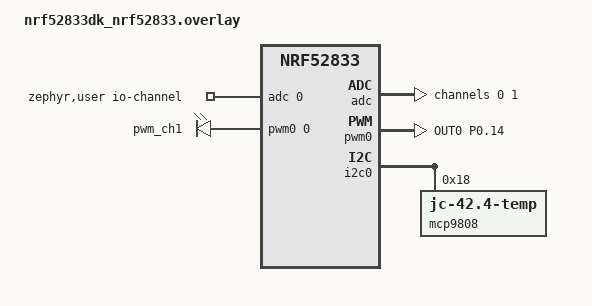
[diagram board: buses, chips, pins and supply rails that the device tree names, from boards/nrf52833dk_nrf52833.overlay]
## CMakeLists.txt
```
# SPDX-License-Identifier: Apache-2.0

cmake_minimum_required(VERSION 3.20.0)
find_package(Zephyr REQUIRED HINTS $ENV{ZEPHYR_BASE})
project(duke-bme554-ecg-temp-ble-lab)

set(NO_BUILD_TYPE_WARNING TRUE)

# make sure to add the source code for new libraries
target_sources(app PRIVATE 
  src/main.c
  src/calc_cycles.c
  src/ble-lib.c
)
```

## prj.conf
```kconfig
CONFIG_LOG=y
CONFIG_LOG_MODE_DEFERRED=y
CONFIG_LOG_BUFFER_SIZE=4096
# CONFIG_MAIN_STACK_SIZE=4096

CONFIG_SMF=y
CONFIG_EVENTS=y
CONFIG_ADC=y
CONFIG_PWM=y
CONFIG_SENSOR=y

CONFIG_DEBUG_OPTIMIZATIONS=y
CONFIG_DEBUG_THREAD_INFO=y

CONFIG_FPU=y
CONFIG_ADC_ASYNC=y

CONFIG_BT=y
CONFIG_BT_SMP=y
CONFIG_BT_PERIPHERAL=y
CONFIG_BT_DIS=y
CONFIG_BT_DIS_PNP=n
CONFIG_BT_BAS=y
CONFIG_BT_HRS=y
CONFIG_BT_DEVICE_NAME="Sophie's ECG TEMP Device"
CONFIG_BT_DEVICE_APPEARANCE=833

CONFIG_BT_DIS_MODEL="BLEeping Heart Monitor"
CONFIG_BT_DIS_MANUF="smp147"




#  CONFIG_LOG=y
# CONFIG_CBPRINTF_FP_SUPPORT=y
# # CONFIG_LOG2_MODE_=y
# CONFIG_LOG_MODE_DEFERRED=y
# CONFIG_LOG_BUFFER_SIZE=4096
# CONFIG_MAIN_STACK_SIZE=4096

# CONFIG_SMF=y
# CONFIG_EVENTS=y
# CONFIG_ADC=y
# CONFIG_ADC_ASYNC=y
# CONFIG_LOG_BUFFER_SIZE=2048
# CONFIG_FPU=y
# CONFIG_PWM=y
# CONFIG_SENSOR=y

# CONFIG_DEBUG_OPTIMIZATIONS=y
# CONFIG_DEBUG_THREAD_INFO=y

# # BLE
# CONFIG_BT=y
# CONFIG_BT_PERIPHERAL=y
# CONFIG_BT_DEVICE_NAME="DukeTymp"
# CONFIG_BT_DEVICE_APPEARANCE=0
# CONFIG_BT_MAX_CONN=1
# CONFIG_BT_LL_SOFTDEVICE=y
# CONFIG_BT_BAS=y
# CONFIG_BT_DIS=y
# CONFIG_BT_DIS_PNP=y
# CONFIG_BT_DIS_MODEL="065_0100"
# CONFIG_BT_DIS_MANUF="Blur Product Development"
# CONFIG_BT_DIS_PNP_VID_SRC=1
# CONFIG_BT_DIS_PNP_VID=0x02DF
# CONFIG_BT_DIS_SERIAL_NUMBER=y
# CONFIG_BT_DIS_FW_REV=y
# CONFIG_BT_DIS_HW_REV=y
# CONFIG_BT_DIS_SW_REV=y
# CONFIG_BT_DIS_SERIAL_NUMBER_STR="TBD-DEVICEID[1]"
# CONFIG_BT_DIS_FW_REV_STR="TBD-GIT-TAG"
# CONFIG_BT_DIS_HW_REV_STR="RevB"
# CONFIG_BT_DIS_SW_REV_STR="v1.0-dev-vc1002"

# CONFIG_BT_SETTINGS=y
# CONFIG_SETTINGS_RUNTIME=y
# CONFIG_SETTINGS=y
# CONFIG_SETTINGS_NONE=y

# CONFIG_BT_DIS_SETTINGS=y
# CONFIG_BT_DIS_STR_MAX=25

# CONFIG_BT_BUF_ACL_RX_SIZE=251
# CONFIG_BT_BUF_ACL_TX_SIZE=251
# CONFIG_BT_L2CAP_TX_MTU=247
# CONFIG_BT_CTLR_DATA_LENGTH_MAX=251
```

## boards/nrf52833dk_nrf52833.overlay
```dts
/ {
        zephyr,user {
            io-channels = <&adc 0>;
        };
        aliases {
        // add your aliases here; examples:
        heartbeat = &led0;  // this corresponds to LED1 on the board
        battery = &led1;
        heartrate = &led2;
        error = &led3;

        idlebutton = &button0;  // this corresponds to SW1 on the board
        tempbutton = &button1;
        heartratebutton = &button2;
        resetbutton = &button3;

        vadc = &vadc;
        diffadc = &diffadc;

        pwm = &pwmch1;
        };
        pwm {
            compatible = "pwm-leds";
            pwmch1: pwm_1 {
                pwms = < &pwm0 0 PWM_MSEC(1) PWM_POLARITY_INVERTED>;  // 0 - channel
                label = "pwm_ch1";
            };
        };
};

&adc {
    #address-cells = <1>;
    #size-cells = <0>;

    vadc: channel@0 {
        reg = <0>;  // channel number
        zephyr,reference = "ADC_REF_INTERNAL";  // voltage ref for SA (0.6 V)
        zephyr,gain = "ADC_GAIN_1_5"; // gain factor to scale ref voltage (1/gain)
        zephyr,acquisition-time = <ADC_ACQ_TIME_DEFAULT>;
        zephyr,input-positive = <NRF_SAADC_AIN0>; // P0.02
        zephyr,resolution = <12>;  // bit depth
    };
    diffadc: channel@1 {
        reg = <1>;  // channel number
        zephyr,reference = "ADC_REF_INTERNAL";
        zephyr,gain = "ADC_GAIN_1_5";
        zephyr,acquisition-time = <ADC_ACQ_TIME(ADC_ACQ_TIME_MICROSECONDS, 40)>;
        zephyr,input-positive = <NRF_SAADC_AIN1>; // P0.03
        zephyr,input-negative = <NRF_SAADC_AIN2>; // P0.04
        zephyr,resolution = <12>;
    };
    status = "okay"; // enable the ADC
};

&pwm0 {
    compatible = "nordic,nrf-pwm";
    reg = <0x4001c000 0x1000>;
    interrupts = <28 NRF_DEFAULT_IRQ_PRIORITY>;
    status = "okay";
    #pwm-cells = <3>;
    pinctrl-0 = <&pwm0_default>;
    pinctrl-names = "default", "sleep";
};

&pinctrl {
    compatible = "nordic,nrf-pinctrl";
    status = "okay";
    pwm0_default: pwm0_default {
        group1 {
            psels = <NRF_PSEL(PWM_OUT0, 0, 14)>;
            nordic,invert;
        };
    };
};

/* I2C Pin Mapping
SCK: P0.27
SDA: P0.26
*/
&i2c0 {
    mcp9808@18{
        compatible = "jedec,jc-42.4-temp";
        reg = <0x18>;
        status = "okay";
    };

};
```

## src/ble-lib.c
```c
#include "ble-lib.h"

LOG_MODULE_REGISTER(blelib, LOG_LEVEL_DBG);

// define a semaphore to make sure that bt_init_ok() completes before proceeding
// this is probably overkill, but it's a good practice
static K_SEM_DEFINE(bt_init_ok, 1, 1);

#define DEVICE_NAME CONFIG_BT_DEVICE_NAME
#define DEVICE_NAME_LEN (sizeof(DEVICE_NAME)-1)
#define NOMINAL_BATTERY_VOLT_MV 3000  // this might make more sense to have in main.c

// extern means this is defined elsewhere (in this case, main.c)
extern float temperature_degC;  // temperature data characteristic will read from this variable
extern struct k_event error_events; // errors characteristic will read from this variable

enum bt_data_notifications_enabled notifications_enabled;

/* Advertising data */
static const struct bt_data ad[] = {
    BT_DATA_BYTES(BT_DATA_FLAGS, (BT_LE_AD_GENERAL | BT_LE_AD_NO_BREDR)),
    BT_DATA(BT_DATA_NAME_COMPLETE, DEVICE_NAME, DEVICE_NAME_LEN)
};

/* Scan response data */
static const struct bt_data sd[] = {
    BT_DATA_BYTES(BT_DATA_UUID128_ALL, BT_UUID_REMOTE_SERV_VAL), 
};

/* UUID of the Remote Service */
// Project ID: 065 (3rd entry)
// BLE MFG ID = 0x02DF (4th entry)
/*  UUID of Data Characteristic  */
struct bt_uuid_128 remote_temperature_data_uuid = BT_UUID_INIT_128(
    BT_UUID_128_ENCODE(0xe9ea0001, 0xe19b, 0x0065, 0x02DF, 0xc7907585fc48));
/*  UUID of Errors Characteristic  */
struct bt_uuid_128 remote_err_uuid = BT_UUID_INIT_128(
    BT_UUID_128_ENCODE(0xe9ea0002, 0xe19b, 0x0065, 0x02DF, 0xc7907585fc48));
/*  UUID of Message Characteristic   */
struct bt_uuid_128 remote_msg_uuid = BT_UUID_INIT_128(
    BT_UUID_128_ENCODE(0xe9ea0003, 0xe19b, 0x0065, 0x02DF, 0xc7907585fc48));

/* Setup services */
BT_GATT_SERVICE_DEFINE(remote_srv,
    BT_GATT_PRIMARY_SERVICE(BT_UUID_REMOTE_SERVICE),
    BT_GATT_CHARACTERISTIC(&remote_temperature_data_uuid.uuid,
                    BT_GATT_CHRC_READ | BT_GATT_CHRC_NOTIFY,
                    BT_GATT_PERM_READ,
                    read_temperature_data_cb, NULL, NULL),
    BT_GATT_CCC(ccc_cfg_changed_cb, BT_GATT_PERM_READ | BT_GATT_PERM_WRITE),
    BT_GATT_CHARACTERISTIC(&remote_err_uuid.uuid,
                    BT_GATT_CHRC_READ | BT_GATT_CHRC_NOTIFY,
                    BT_GATT_PERM_WRITE | BT_GATT_PERM_READ,
                    read_error_cb, NULL, NULL),
    BT_GATT_CCC(ccc_cfg_changed_cb, BT_GATT_PERM_READ | BT_GATT_PERM_WRITE),
    BT_GATT_CHARACTERISTIC(&remote_msg_uuid.uuid,
                    BT_GATT_CHRC_WRITE_WITHOUT_RESP,
                    BT_GATT_PERM_WRITE,
                    NULL, on_write, NULL),
    BT_GATT_CCC(ccc_cfg_changed_cb, BT_GATT_PERM_READ | BT_GATT_PERM_WRITE),
);

struct bt_conn *current_conn;
struct bt_conn_cb bluetooth_callbacks = {
    .connected = on_connected,
    .disconnected = on_disconnected,
};

struct bt_remote_srv_cb remote_service_callbacks = {
    .notif_changed = on_notif_changed,
    .data_rx = on_data_rx,
};

/* Callbacks */
void on_data_rx(struct bt_conn *conn, const uint8_t *const data, uint16_t len) {
    // copy the data to a temporary buffer and append a NULL character
    uint8_t temp_str[len+1];
    memcpy(temp_str, data, len);
    temp_str[len] = 0x00;  // append NULL character at the end
    LOG_INF("BT received data on conn %p. Len: %d", (void *)conn, len);
    LOG_INF("Data: %s", temp_str);
}

void on_connected(struct bt_conn *conn, uint8_t ret) {
    if (ret) {
        LOG_ERR("Connection error: %d", ret);
        return;
    }
    LOG_INF("BT connected");
    current_conn = bt_conn_ref(conn);
}

void on_disconnected(struct bt_conn *conn, uint8_t reason) {
    LOG_INF("BT disconnected (reason: %d)", reason);
    if (current_conn) {
        bt_conn_unref(current_conn);
        current_conn = NULL;
    }
}

void on_notif_changed(enum bt_data_notifications_enabled status) {
    if (status == BT_DATA_NOTIFICATIONS_ENABLED) {
        LOG_INF("BT notifications enabled");
    } else {
        LOG_INF("BT notifications disabled");
    }
}

const struct bt_gatt_attr *attr = &remote_srv.attrs[2];

void ccc_cfg_changed_cb(const struct bt_gatt_attr *attr, uint16_t value) {
    bool notif_enabled = (value == BT_GATT_CCC_NOTIFY);
    LOG_INF("Notifications: %s", notif_enabled? "enabled":"disabled");
    notifications_enabled = notif_enabled? BT_DATA_NOTIFICATIONS_ENABLED:BT_DATA_NOTIFICATIONS_DISABLED;
    if (remote_service_callbacks.notif_changed) {
        remote_service_callbacks.notif_changed(notifications_enabled);
    }
}

/* These callbacks are used when a read request is made to the remote service */
ssize_t read_temperature_data_cb(struct bt_conn *conn, const struct bt_gatt_attr *attr, void *buf, uint16_t len, uint16_t offset) {
    return bt_gatt_attr_read(conn, attr, buf, len, offset, &temperature_degC, sizeof(temperature_degC));
}

ssize_t read_error_cb(struct bt_conn *conn, const struct bt_gatt_attr *attr, void *buf, uint16_t len, uint16_t offset) {
    return bt_gatt_attr_read(conn, attr, buf, len, offset, &error_events.events, sizeof(error_events.events));
}

ssize_t on_write(struct bt_conn *conn, const struct bt_gatt_attr *attr, const void *buf, uint16_t len, uint16_t offset, uint8_t flags) {
    LOG_INF("Received data, handle %d, conn %p", attr->handle, (void *)conn);
    
    if (remote_service_callbacks.data_rx) {
        remote_service_callbacks.data_rx(conn, buf, len);
    }
    return len;
}


void on_sent(struct bt_conn *conn, void *user_data) {
    ARG_UNUSED(user_data);
    LOG_INF("Notification sent on connection %p", (void *)conn);
}

void bt_ready(int ret) {
    if (ret) {
        LOG_ERR("bt_enable returned %d", ret);
    }
    // release the thread once initialized
    k_sem_give(&bt_init_ok);
}

int bluetooth_init(struct bt_conn_cb *bt_cb, struct bt_remote_srv_cb *remote_cb) {
    LOG_INF("Initializing Bluetooth");
    if ((bt_cb == NULL) | (remote_cb == NULL)) {
        LOG_ERR("Invalid callback(s)");
        return -NRFX_ERROR_NULL;
    }
    bt_conn_cb_register(bt_cb);
    remote_service_callbacks.notif_changed = remote_cb->notif_changed;
    remote_service_callbacks.data_rx = remote_cb->data_rx;
    int ret = bt_enable(bt_ready);
    if (ret) {
        LOG_ERR("bt_enable returned %d", ret);
        return ret;
    }

    // hold the thread until Bluetooth is initialized
    k_sem_take(&bt_init_ok, K_FOREVER);
    if (IS_ENABLED(CONFIG_BT_SETTINGS)) {
        settings_load();
    }
    ret = bt_le_adv_start(BT_LE_ADV_CONN, ad, ARRAY_SIZE(ad), sd, ARRAY_SIZE(sd));
    if (ret) {
        LOG_ERR("Could not start advertising (ret = %d)", ret);
        return ret;
    }
    return ret;
}

/* BAS Functions */
uint8_t bluetooth_get_battery_level(void) {
    uint8_t battery_level;
    battery_level =  bt_bas_get_battery_level();
    LOG_INF("Battery Level: %d pct", battery_level);
    return battery_level;
}

void bluetooth_set_battery_level(int32_t raw_mV) {
    LOG_DBG("Raw Battery: %d mV", raw_mV);
    
    float normalized_level = (float) 100 * raw_mV / NOMINAL_BATTERY_VOLT_MV;
    
    LOG_INF("Normalized Battery Level: %lf", (double)normalized_level);
    int err = bt_bas_set_battery_level((int)normalized_level);
    if (err) {
        LOG_ERR("BAS set error (err = %d)", err);
    }
}

void bluetooth_set_heartrate(float heart_rate){
    int ret = bt_hrs_notify((int)heart_rate);
    if (ret) {
        LOG_ERR("HRS notify error (ret = %d)", ret);
    }
}

void bluetooth_set_temperature(float temperature){
    if(current_conn) {
        int ret = bt_gatt_notify(current_conn, &remote_srv.attrs[2], &temperature, sizeof(temperature));
        if (ret) {
            LOG_ERR("Temperature notify error (ret = %d)", ret);
        }
    }
}

void bluetooth_set_error(char* message){
    size_t msg_len = strlen(message);
    if(current_conn) {
        int ret = bt_gatt_notify(current_conn, &remote_srv.attrs[5], message, msg_len);
        if (ret) {
            LOG_ERR("Error notify error (ret = %d)", ret);
        }
    }
}
```

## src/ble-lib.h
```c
#ifndef BLE_LIB_H
#define BLE_LIB_H

#include <zephyr/kernel.h>
#include <zephyr/device.h>
#include <zephyr/logging/log.h>
#include <zephyr/bluetooth/bluetooth.h>
#include <zephyr/bluetooth/uuid.h>
#include <zephyr/bluetooth/gatt.h>
#include <zephyr/bluetooth/hci.h>
#include <zephyr/settings/settings.h>
#include <zephyr/bluetooth/services/bas.h> // Battery Service
#include <zephyr/bluetooth/services/hrs.h> // Heart Rate Service

/* UUID of the Remote Service */
// Project ID: 065 (3rd entry)
// MFG ID = 0x02DF (4th entry)
#define BT_UUID_REMOTE_SERV_VAL \
        BT_UUID_128_ENCODE(0xe9ea0000, 0xe19b, 0x0065, 0x02DF, 0xc7907585fc48)

#define BT_UUID_REMOTE_SERVICE          BT_UUID_DECLARE_128(BT_UUID_REMOTE_SERV_VAL)

enum bt_data_notifications_enabled {
    BT_DATA_NOTIFICATIONS_ENABLED,
    BT_DATA_NOTIFICATIONS_DISABLED,
};

struct bt_remote_srv_cb {
    void (*notif_changed)(enum bt_data_notifications_enabled status);
    void (*data_rx)(struct bt_conn *conn, const uint8_t *const data, uint16_t len);
};

int bluetooth_init(struct bt_conn_cb *bt_cb, struct bt_remote_srv_cb *remote_cb);
uint8_t bluetooth_get_battery_level(void);
void bluetooth_set_battery_level(int32_t level);
ssize_t on_write(struct bt_conn *conn, const struct bt_gatt_attr *attr, const void *buf, uint16_t len, uint16_t offset, uint8_t flags);
ssize_t read_temperature_data_cb(struct bt_conn *conn, const struct bt_gatt_attr *attr, void *buf, uint16_t len, uint16_t offset);
ssize_t read_error_cb(struct bt_conn *conn, const struct bt_gatt_attr *attr, void *buf, uint16_t len, uint16_t offset);
void ccc_cfg_changed_cb(const struct bt_gatt_attr *attr, uint16_t value);
void on_connected(struct bt_conn *conn, uint8_t ret);
void on_disconnected(struct bt_conn *conn, uint8_t reason);
void on_data_rx(struct bt_conn *conn, const uint8_t *const data, uint16_t len);
void on_notif_changed(enum bt_data_notifications_enabled status);

void bluetooth_set_heartrate(float heart_rate);
void bluetooth_set_temperature(float temperature);
void bluetooth_set_error(char* message);

extern const struct bt_gatt_attr *attr;
extern struct bt_conn *current_conn;
extern struct bt_conn_cb bluetooth_callbacks;
extern struct bt_remote_srv_cb remote_service_callbacks;
extern struct bt_uuid_128 remote_err_uuid;
extern struct bt_uuid_128 remote_serv_uuid;
extern struct bt_uuid_128 remote_temperature_data_uuid;
extern struct bt_uuid_128 remote_msg_uuid;

#endif
```

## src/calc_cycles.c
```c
#include "calc_cycles.h"
#include <zephyr/logging/log.h>

LOG_MODULE_DECLARE(main, LOG_LEVEL_DBG);

int calc_cycles(int16_t *buffer, int buffer_size) {
  // Find min and max of the buffer
  int16_t max_val = buffer[0];
  int16_t min_val = buffer[0];
  
  for (int i = 1; i < buffer_size; i++) {
    if (buffer[i] > max_val) max_val = buffer[i];
    if (buffer[i] < min_val) min_val = buffer[i];
  }

  // Set threshold at 50% of the signal range
  int16_t threshold = min_val + (max_val - min_val) / 2;

  // Count upward crossings
  int cycles = 0;
  for (int i = 1; i < buffer_size; i++) {  // start at 1, fixes buffer[-1] bug
    if (buffer[i] > threshold && buffer[i-1] <= threshold) {
      cycles++;
    }
  }

  return cycles;
}
```

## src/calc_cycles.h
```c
#include <stdint.h>

int detect_heartrate_bpm(int16_t *buffer, int buffer_size);
```
